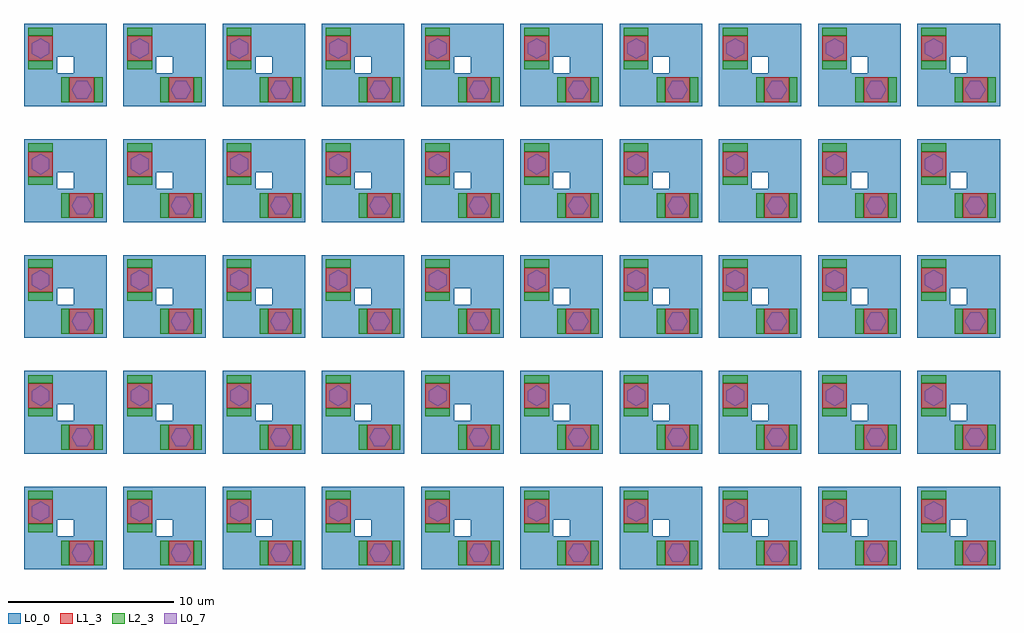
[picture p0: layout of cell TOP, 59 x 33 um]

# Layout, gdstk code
from math import pi, radians
import gdstk
lib = gdstk.Library(unit=1e-6, precision=1e-09)
def R(c, l, rs):  # rectangles x0, y0, x1, y1
    for r in rs: c.add(gdstk.rectangle(r[:2], r[2:], *l))
def P(c, l, *ps):  # polygons
    for p in ps: c.add(gdstk.Polygon(p, *l))
L0_0 = (0, 0)
L0_7 = (0, 7)
L1_3 = (1, 3)
L2_3 = (2, 3)

contact = lib.new_cell('CONTACT')
P(contact, L0_7, [(2.5,0),(1.25,2.165),(-1.25,2.165),(-2.5,0),(-1.25,-2.165),(1.25,-2.165)])
R(contact, L1_3, [(-3,-3,3,3)])
R(contact, L2_3, [(-5,-3,-3,3), (3,-3,5,3)])

device = lib.new_cell('DEVICE')
P(device, L0_0, [(0,0),(5,0),(5,5),(0,5),(0,0),(2,2),(2,3),(3,3),(3,2),(2,2)])
device.add(gdstk.Reference(contact, (3.5,1), magnification=0.25))
device.add(gdstk.Reference(contact, (1,3.5), rotation=pi/2, magnification=0.25))

top = lib.new_cell('TOP')
r = gdstk.Reference(device, (0,0)); r.repetition = gdstk.Repetition(10, 5, v1=(6,0), v2=(0,7)); top.add(r)

lib.write_gds('TOP.gds')
